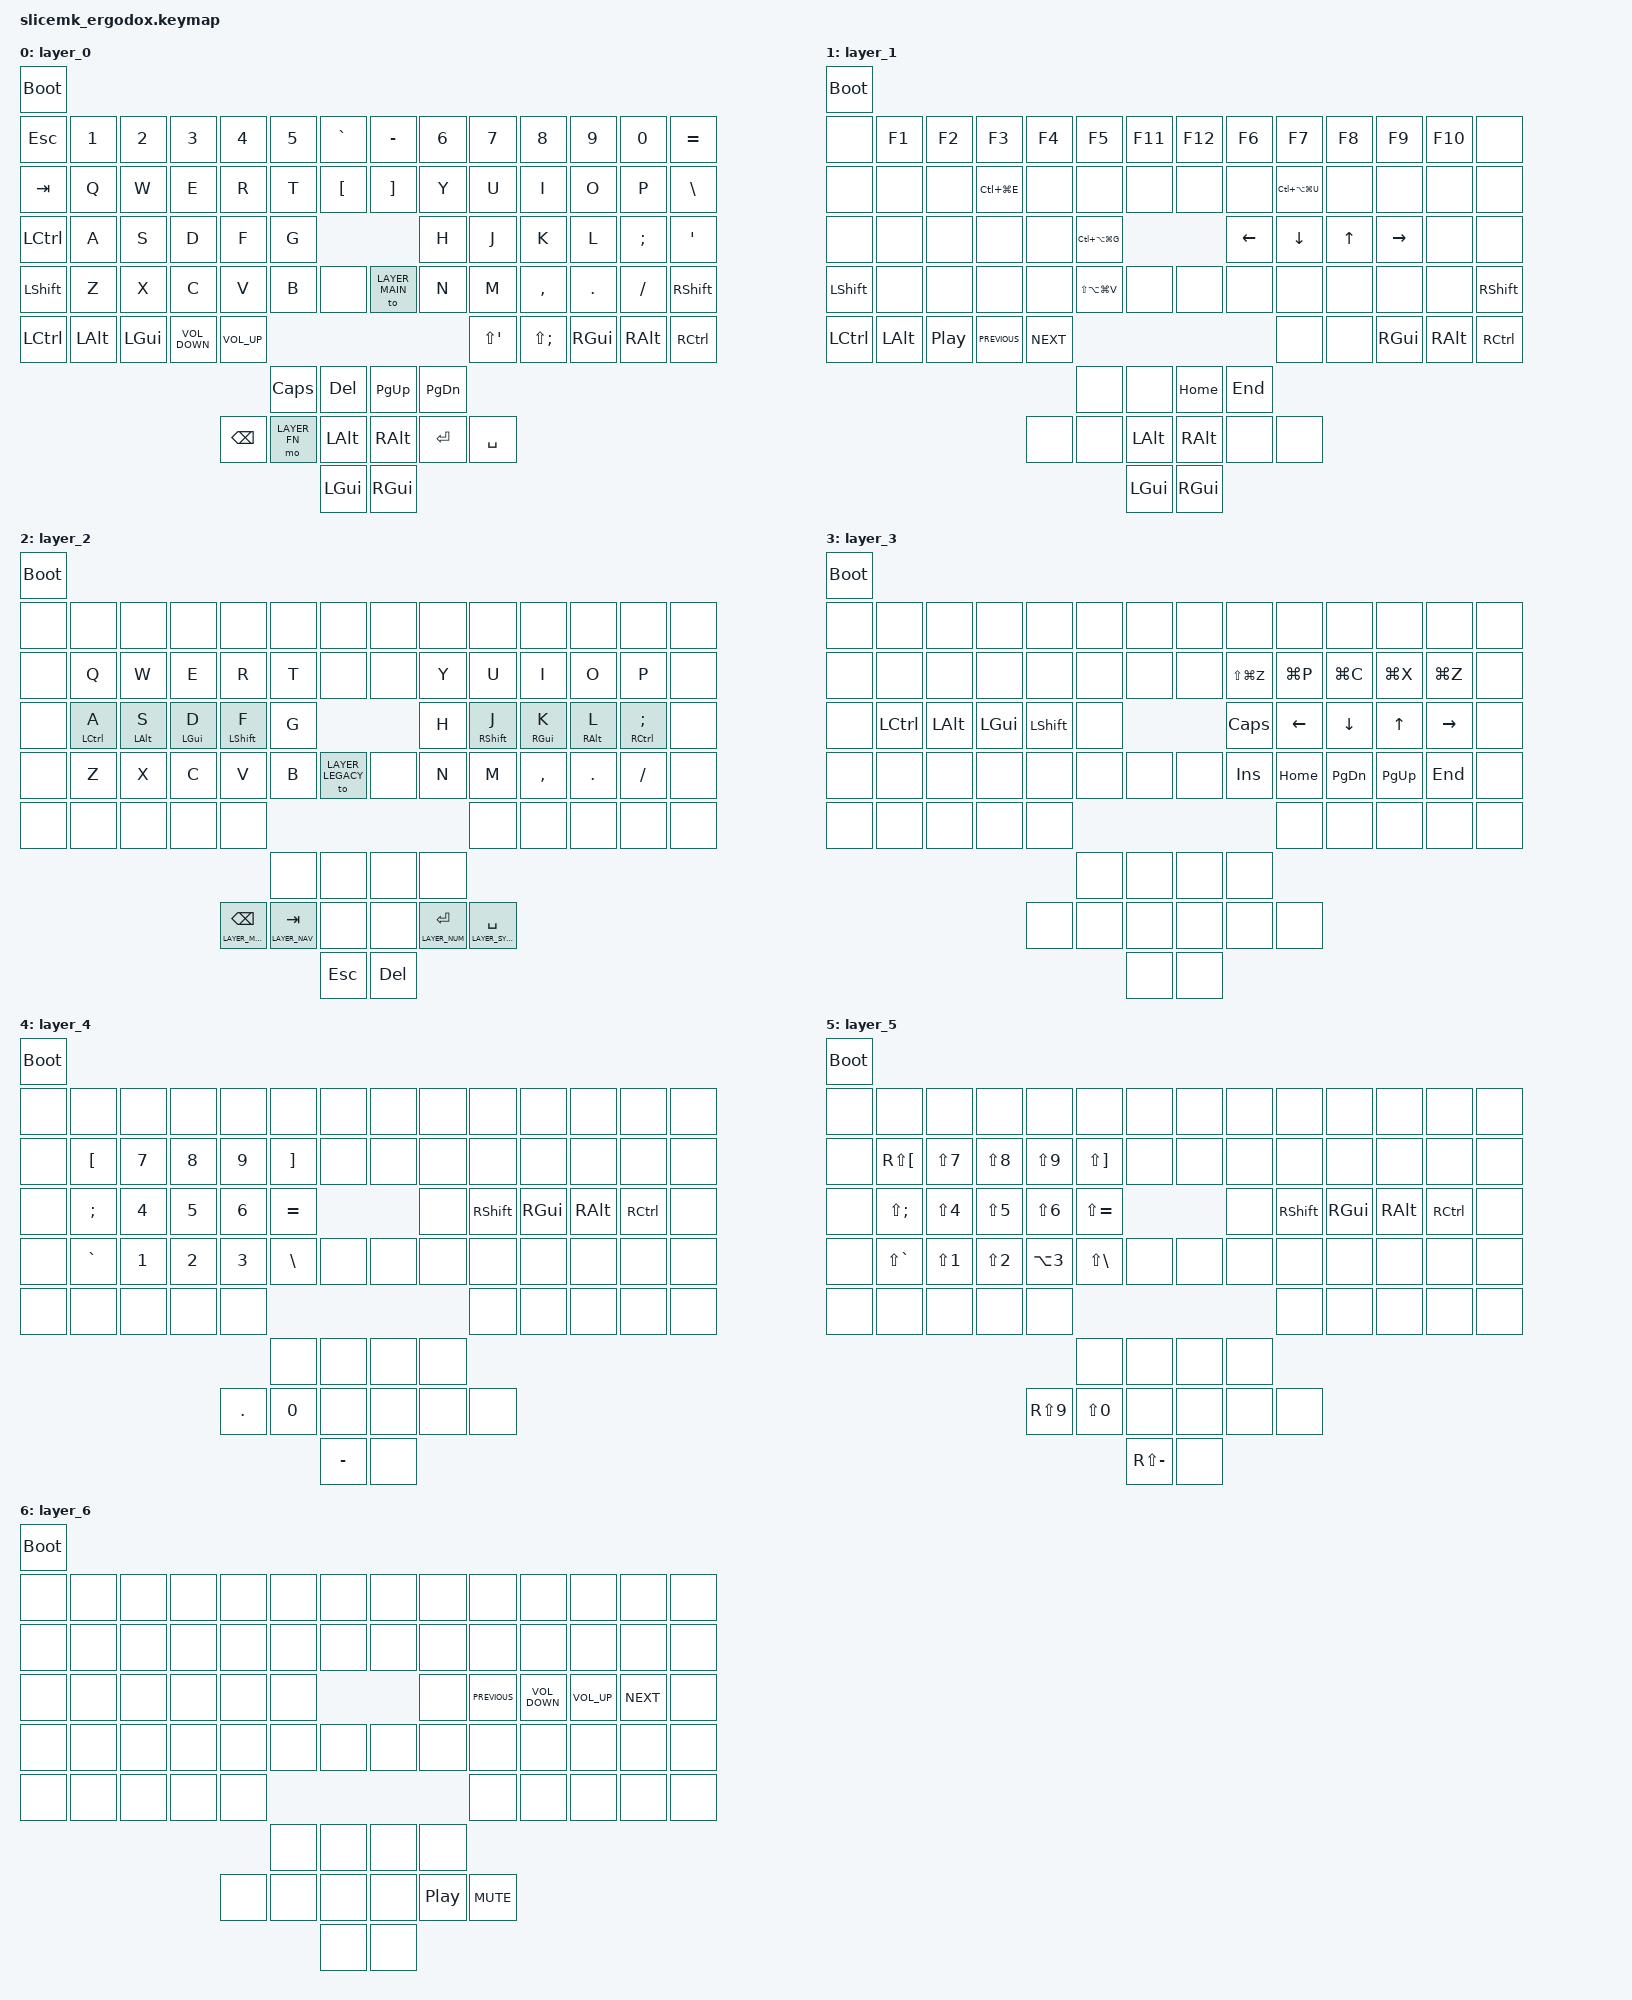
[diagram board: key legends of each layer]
#define LAYER_LEGACY 0
#define LAYER_FN 1
#define LAYER_MAIN 2
#define LAYER_NAV 3
#define LAYER_NUM 4
#define LAYER_SYMB 5
#define LAYER_MEDIA 6

#include <behaviors.dtsi>
#include <dt-bindings/zmk/bt.h>
#include <dt-bindings/zmk/keys.h>
#include <dt-bindings/zmk/mouse.h>
#include <dt-bindings/zmk/outputs.h>
#include <dt-bindings/zmk/rgb.h>

/* Homerow mods */

#include "keypos_slicemk.h"
#define KEYS_L LT0 LT1 LT2 LT3 LT4 LM0 LM1 LM2 LM3 LM4 LB0 LB1 LB2 LB3 LB4  // left hand
#define KEYS_R RT0 RT1 RT2 RT3 RT4 RM0 RM1 RM2 RM3 RM4 RB0 RB1 RB2 RB3 RB4  // right hand
#define THUMBS LH2 LH1 LH0 RH0 RH1 RH2                                      // thumbs

#define MAKE_HRM(NAME, HOLD, TAP, TRIGGER_POS) \
    / { \
        behaviors { \
          NAME: hold_tap { \
            compatible = "zmk,behavior-hold-tap"; \
            #binding-cells = <2>; \
            flavor = "balanced"; \
            tapping-term-ms = <280>; \
            quick-tap-ms = <175>; \
            require-prior-idle-ms = <150>; \
            bindings = <HOLD>, <TAP>; \
            hold-trigger-key-positions = <TRIGGER_POS>; \
            hold-trigger-on-release; \
          }; \
        }; \
      };

MAKE_HRM(hml, &kp, &kp, KEYS_R THUMBS)  // left-hand HRMs
MAKE_HRM(hmr, &kp, &kp, KEYS_L THUMBS)  // right-hand HRMs

/* Layers */

/ {
	keymap {
		compatible = "zmk,keymap";
		layer_0 {
			bindings = <
				&bootloader
				&kp ESCAPE       &kp NUMBER_1 &kp NUMBER_2 &kp NUMBER_3      &kp NUMBER_4    &kp NUMBER_5 &kp GRAVE        &kp MINUS         &kp NUMBER_6  &kp NUMBER_7         &kp NUMBER_8      &kp NUMBER_9  &kp NUMBER_0  &kp EQUAL
				&kp TAB          &kp Q        &kp W        &kp E             &kp R           &kp T        &kp LEFT_BRACKET &kp RIGHT_BRACKET &kp Y         &kp U                &kp I             &kp O         &kp P         &kp BACKSLASH
				&kp LEFT_CONTROL &kp A        &kp S        &kp D             &kp F           &kp G                                           &kp H         &kp J                &kp K             &kp L         &kp SEMICOLON &kp SINGLE_QUOTE
				&kp LEFT_SHIFT   &kp Z        &kp X        &kp C             &kp V           &kp B        &none            &to LAYER_MAIN    &kp N         &kp M                &kp COMMA         &kp PERIOD    &kp SLASH     &kp RIGHT_SHIFT
				&kp LEFT_CONTROL &kp LEFT_ALT &kp LEFT_GUI &kp C_VOLUME_DOWN &kp C_VOLUME_UP                                                               &kp LS(SINGLE_QUOTE) &kp LS(SEMICOLON) &kp RIGHT_GUI &kp RIGHT_ALT &kp RIGHT_CONTROL
				                                                                             &kp CAPSLOCK &kp DELETE       &kp PAGE_UP       &kp PAGE_DOWN
				                                                             &kp BACKSPACE   &mo LAYER_FN &kp LEFT_ALT     &kp RIGHT_ALT     &kp RETURN    &kp SPACE
				                                                                                          &kp LEFT_GUI     &kp RIGHT_GUI
			>;
		};
		layer_1 {
			bindings = <
				&bootloader
				&none            &kp F1       &kp F2           &kp F3         &kp F4     &kp F5            &kp F11 &kp F12  &kp F6         &kp F7            &kp F8       &kp F9          &kp F10 &none
				&none            &none        &none            &kp LC(LG(E))  &none      &none             &none   &none    &none          &kp LC(LA(LG(U))) &none        &none           &none   &none
				&none            &none        &none            &none          &none      &kp LC(LA(LG(G)))                  &kp LEFT_ARROW &kp DOWN_ARROW    &kp UP_ARROW &kp RIGHT_ARROW &none   &none
				&kp LEFT_SHIFT   &none        &none            &none          &none      &kp LS(LA(LG(V))) &none   &none    &none          &none             &none        &none           &none   &kp RIGHT_SHIFT
				&kp LEFT_CONTROL &kp LEFT_ALT &kp C_PLAY_PAUSE &kp C_PREVIOUS &kp C_NEXT                                                   &none             &none        &kp RIGHT_GUI &kp RIGHT_ALT &kp RIGHT_CONTROL
				                                                                         &none             &none          &kp HOME         &kp END
				                                                              &none      &none             &kp LEFT_ALT   &kp RIGHT_ALT    &none          &none
				                                                                                           &kp LEFT_GUI   &kp RIGHT_GUI
			>;
		};
		layer_2 {
			bindings = <
				&bootloader
				&none &none              &none          &none          &none                     &none             &none            &none      &none                &none                &none           &none           &none                       &none
				&none &kp Q              &kp W          &kp E          &kp R                     &kp T             &none            &none      &kp Y                &kp U                &kp I           &kp O           &kp P                       &none
				&none &mt LEFT_CONTROL A &mt LEFT_ALT S &mt LEFT_GUI D &mt LEFT_SHIFT F          &kp G                                         &kp H                &mt RIGHT_SHIFT J    &mt RIGHT_GUI K &mt RIGHT_ALT L &mt RIGHT_CONTROL SEMICOLON &none
				&none &kp Z              &kp X          &kp C          &kp V                     &kp B             &to LAYER_LEGACY &none      &kp N                &kp M                &kp COMMA       &kp PERIOD      &kp SLASH                   &none
				&none &none              &none          &none          &none                                                                                        &none                &none           &none           &none                       &none
				                                                                                 &none             &none            &none      &none
				                                                       &lt LAYER_MEDIA BACKSPACE &lt LAYER_NAV TAB &none            &none      &lt LAYER_NUM RETURN &lt LAYER_SYMB SPACE
				                                                                                                   &kp ESCAPE       &kp DELETE
			>;
		};
		layer_3 {
			bindings = <
				&bootloader
				&none &none            &none        &none        &none          &none &none &none &none         &none          &none          &none        &none           &none
				&none &none            &none        &none        &none          &none &none &none &kp LS(LG(Z)) &kp LG(P)      &kp LG(C)      &kp LG(X)    &kp LG(Z)       &none
				&none &kp LEFT_CONTROL &kp LEFT_ALT &kp LEFT_GUI &kp LEFT_SHIFT &none             &kp CAPSLOCK  &kp LEFT_ARROW &kp DOWN_ARROW &kp UP_ARROW &kp RIGHT_ARROW &none
				&none &none            &none        &none        &none          &none &none &none &kp INSERT    &kp HOME       &kp PAGE_DOWN  &kp PAGE_UP  &kp END         &none
				&none &none            &none        &none        &none                                          &none          &none          &none        &none           &none
				                                                                &none &none &none &none
				                                                 &none          &none &none &none &none         &none
				                                                                      &none &none
			>;
		};
		layer_4 {
			bindings = <
				&bootloader
				&none &none            &none        &none        &none        &none             &none     &none &none &none           &none         &none         &none             &none
				&none &kp LEFT_BRACKET &kp NUMBER_7 &kp NUMBER_8 &kp NUMBER_9 &kp RIGHT_BRACKET &none     &none &none &none           &none         &none         &none             &none
				&none &kp SEMICOLON    &kp NUMBER_4 &kp NUMBER_5 &kp NUMBER_6 &kp EQUAL                         &none &kp RIGHT_SHIFT &kp RIGHT_GUI &kp RIGHT_ALT &kp RIGHT_CONTROL &none
				&none &kp GRAVE        &kp NUMBER_1 &kp NUMBER_2 &kp NUMBER_3 &kp BACKSLASH     &none     &none &none &none           &none         &none         &none             &none
				&none &none            &none        &none        &none                                                &none           &none         &none         &none             &none
				                                                              &none             &none     &none &none
				                                                 &kp PERIOD   &kp NUMBER_0      &none     &none &none &none
				                                                                                &kp MINUS &none
			>;
		};
		layer_5 {
			bindings = <
				&bootloader
				&none &none                &none            &none            &none            &none                 &none         &none &none &none           &none         &none         &none             &none
				&none &kp RS(LEFT_BRACKET) &kp LS(NUMBER_7) &kp LS(NUMBER_8) &kp LS(NUMBER_9) &kp LS(RIGHT_BRACKET) &none         &none &none &none           &none         &none         &none             &none
				&none &kp LS(SEMICOLON)    &kp LS(NUMBER_4) &kp LS(NUMBER_5) &kp LS(NUMBER_6) &kp LS(EQUAL)                             &none &kp RIGHT_SHIFT &kp RIGHT_GUI &kp RIGHT_ALT &kp RIGHT_CONTROL &none
				&none &kp LS(GRAVE)        &kp LS(NUMBER_1) &kp LS(NUMBER_2) &kp LA(NUMBER_3) &kp LS(BACKSLASH)     &none         &none &none &none           &none         &none         &none             &none
				&none &none                &none            &none            &none                                                            &none           &none         &none         &none             &none
				                                                                              &none                 &none         &none &none
				                                                             &kp RS(NUMBER_9) &kp LS(NUMBER_0)      &none         &none &none &none
				                                                                                                    &kp RS(MINUS) &none
			>;
		};
		layer_6 {
			bindings = <
				&bootloader
				&none &none &none &none &none &none &none    &none &none            &none          &none             &none           &none      &none
				&none &none &none &none &none &none &none    &none &none            &none          &none             &none           &none      &none
				&none &none &none &none &none &none                &none            &kp C_PREVIOUS &kp C_VOLUME_DOWN &kp C_VOLUME_UP &kp C_NEXT &none
				&none &none &none &none &none &none &none    &none &none            &none          &none             &none           &none      &none
				&none &none &none &none &none                                       &none          &none             &none           &none      &none
				                              &none &none    &none &none
				                        &none &none &none    &none &kp C_PLAY_PAUSE &kp C_MUTE
				                                    &none    &none
			>;
		};
	};
};
